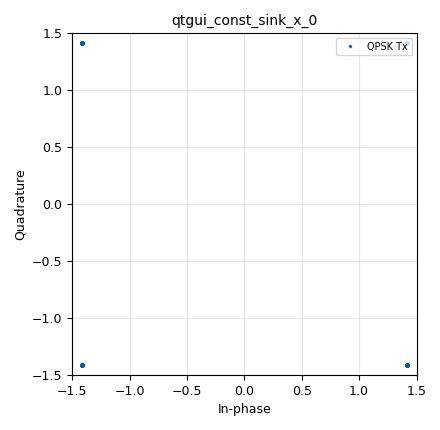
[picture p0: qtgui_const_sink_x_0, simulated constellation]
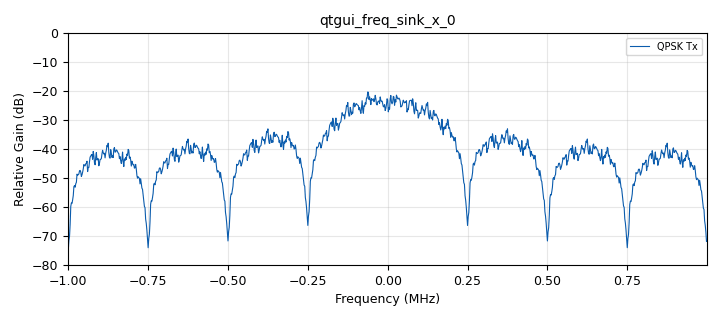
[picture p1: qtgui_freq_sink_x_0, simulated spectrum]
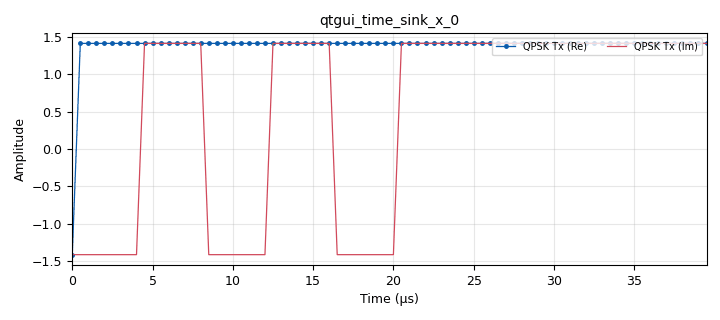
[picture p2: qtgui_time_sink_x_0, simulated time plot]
options:
  parameters:
    author: Marcelo Doallo
    generate_options: qt_gui
    id: Demo_QPSK_Tx
    output_language: python
    title: 'Demo de QPSK  Tx '
  states: {}

blocks:
- name: qpsk
  id: variable_constellation
  parameters:
    precision: '8'
    type: qpsk
  states: {}
- name: samp_rate
  id: variable
  parameters:
    value: '2000000'
  states: {}
- name: sps
  id: variable
  parameters:
    comment: Samples per symbol
    value: '8'
  states: {}
- name: analog_random_source_x_0
  id: analog_random_source_x
  parameters:
    max: '4'
    min: '0'
    num_samps: '1000'
    repeat: 'True'
    type: byte
  states: {}
- name: blocks_repeat_0
  id: blocks_repeat
  parameters:
    interp: sps
    type: complex
  states: {}
- name: blocks_throttle2_0
  id: blocks_throttle2
  parameters:
    samples_per_second: samp_rate
    type: complex
  states: {}
- name: digital_constellation_encoder_bc_0
  id: digital_constellation_encoder_bc
  parameters:
    constellation: qpsk
  states: {}
- name: qtgui_const_sink_x_0
  id: qtgui_const_sink_x
  parameters:
    grid: 'True'
    gui_hint: tab@2:0,0,1,1
    label1: QPSK Tx
    size: '1024'
    style1: '1'
    type: complex
    xmax: '1.5'
    xmin: '-1.5'
    ymax: '1.5'
    ymin: '-1.5'
  states: {}
- name: qtgui_freq_sink_x_0
  id: qtgui_freq_sink_x
  parameters:
    average: '0.05'
    bw: samp_rate
    ctrlpanel: 'True'
    fc: '0'
    fftsize: '1024'
    gui_hint: tab@1:0,0,1,1
    label1: QPSK Tx
    type: complex
    ymax: '0'
    ymin: '-80'
  states: {}
- name: qtgui_time_sink_x_0
  id: qtgui_time_sink_x
  parameters:
    autoscale: 'True'
    color2: green
    ctrlpanel: 'True'
    gui_hint: tab@0:0,0,1,1
    label1: QPSK Tx (Re)
    label2: QPSK Tx (Im)
    marker1: '0'
    size: sps*10
    srate: samp_rate
    style1: '2'
    tr_mode: qtgui.TRIG_MODE_AUTO
    type: complex
    ymax: '2'
    ymin: '-2'
  states: {}
- name: tab
  id: qtgui_tab_widget
  parameters:
    gui_hint: 0,0,3,3
    label0: Tiempo
    label1: Espectro
    label2: Constelación
    num_tabs: '3'
  states: {}

connections:
- [analog_random_source_x_0, '0', digital_constellation_encoder_bc_0, '0']
- [blocks_repeat_0, '0', blocks_throttle2_0, '0']
- [blocks_repeat_0, '0', qtgui_const_sink_x_0, '0']
- [blocks_repeat_0, '0', qtgui_freq_sink_x_0, '0']
- [blocks_repeat_0, '0', qtgui_time_sink_x_0, '0']
- [digital_constellation_encoder_bc_0, '0', blocks_repeat_0, '0']

metadata:
  file_format: 1
  grc_version: 3.10.12.0
